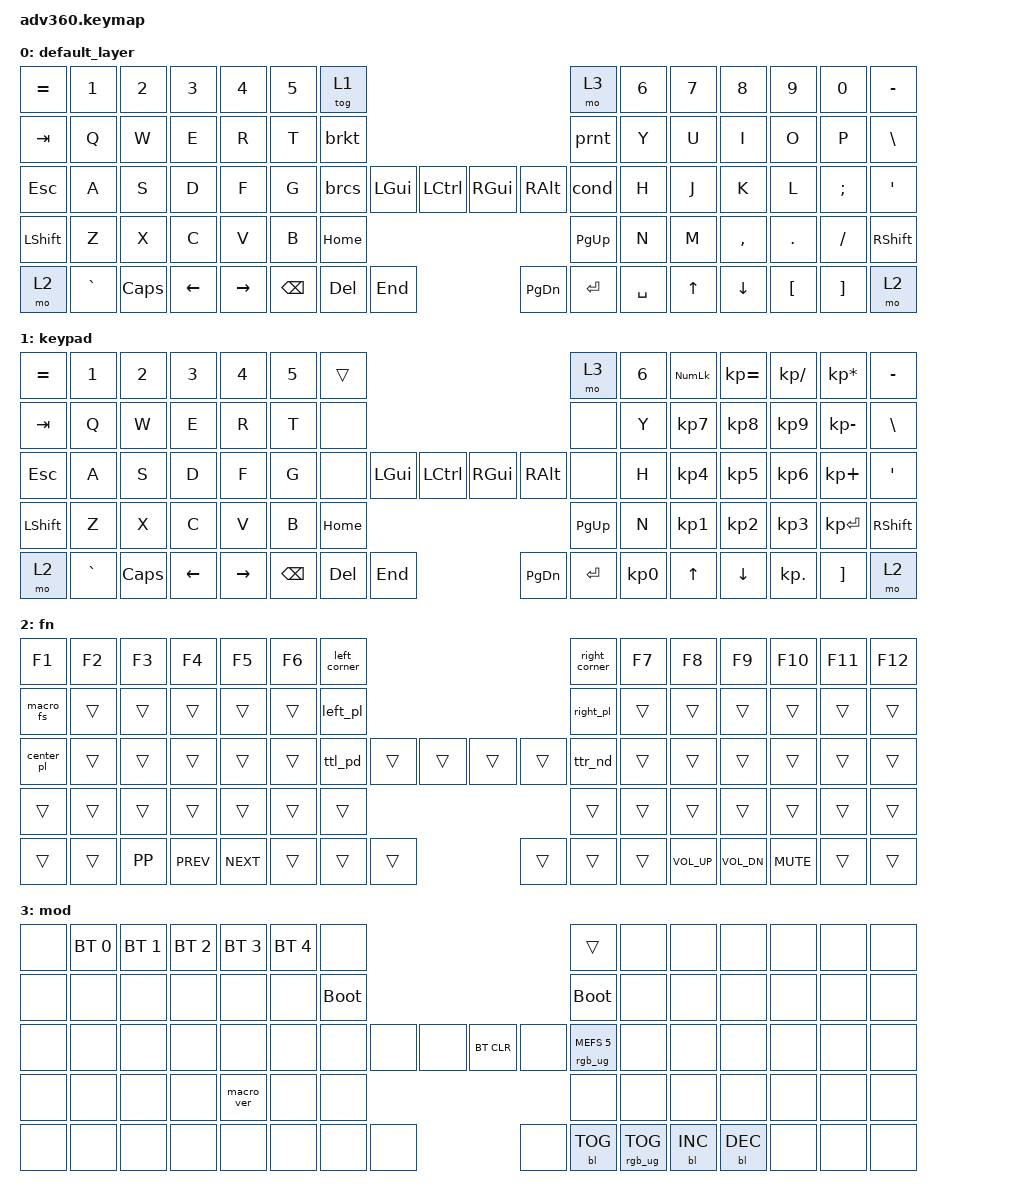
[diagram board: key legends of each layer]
#include <behaviors.dtsi>
#include <dt-bindings/zmk/keys.h>
#include <dt-bindings/zmk/bt.h>
#include <dt-bindings/zmk/rgb.h>
#include <dt-bindings/zmk/backlight.h>

/ {
    behaviors {
      #include "macros.dtsi"
      #include "version.dtsi"
      #ifndef VERSION_MACRO
      macro_ver: macro_ver {
        compatible = "zmk,behavior-macro";
        label = "macro_version";
        #binding-cells = <0>;
        bindings = <&kp RET>;
      };
      #endif

      hm: homerow_mods {
          compatible = "zmk,behavior-hold-tap";
          label = "HOMEROW_MODS";
          #binding-cells = <2>;
          tapping-term-ms = <200>;
          quick_tap_ms = <175>;
          flavor = "tap-preferred";
          bindings = <&kp>, <&kp>;
      };

      prnt: parenthesis {
        compatible = "zmk,behavior-mod-morph";
        #binding-cells = <0>;
        bindings = <&kp LPAR>, <&kp RPAR>;
        mods = <(MOD_LSFT|MOD_RSFT)>;
      };

      brkt: brackets {
        compatible = "zmk,behavior-mod-morph";
        #binding-cells = <0>;
        bindings = <&kp LBKT>, <&kp RBKT>;
        mods = <(MOD_LSFT|MOD_RSFT)>;
      };

      brcs: curly_braces {
        compatible = "zmk,behavior-mod-morph";
        #binding-cells = <0>;
        bindings = <&kp LBRC>, <&kp RBRC>;
        mods = <(MOD_LSFT|MOD_RSFT)>;
      };

      cond: conditional_operators {
        compatible = "zmk,behavior-mod-morph";
        #binding-cells = <0>;
        bindings = <&kp AMPS>, <&kp PIPE>;
        mods = <(MOD_LSFT|MOD_RSFT)>;
      };
      left_pl: left_placement {
        compatible = "zmk,behavior-mod-morph";
        #binding-cells = <0>;
        bindings = <&macro_left_half>, <&macro_left_third>;
        mods = <(MOD_LSFT|MOD_RSFT)>;
      };
      right_pl: right_placement {
        compatible = "zmk,behavior-mod-morph";
        #binding-cells = <0>;
        bindings = <&macro_right_half>, <&macro_right_third>;
        mods = <(MOD_LSFT|MOD_RSFT)>;
      };
      center_pl: center_pl {
        compatible = "zmk,behavior-mod-morph";
        #binding-cells = <0>;
        bindings = <&macro_center_third>, <&macro_center_half>;
        mods = <(MOD_LSFT|MOD_RSFT)>;
      };
      ttl_pd: two_thirds_left_prev_display {
        compatible = "zmk,behavior-mod-morph";
        #binding-cells = <0>;
        bindings = <&macro_two_third_left>, <&macro_prev_display>;
        mods = <(MOD_LSFT|MOD_RSFT)>;
      };
      ttr_nd: two_thirds_right_next_display {
        compatible = "zmk,behavior-mod-morph";
        #binding-cells = <0>;
        bindings = <&macro_two_third_right>, <&macro_next_display>;
        mods = <(MOD_LSFT|MOD_RSFT)>;
      };
      left_corner: left_corner {
        compatible = "zmk,behavior-mod-morph";
        #binding-cells = <0>;
        bindings = <&macro_top_left>, <&macro_bottom_left>;
        mods = <(MOD_LSFT|MOD_RSFT)>;
        keep-mods = <(MOD_LSFT|MOD_RSFT)>;
      };
      right_corner: right_corner {
        compatible = "zmk,behavior-mod-morph";
        #binding-cells = <0>;
        bindings = <&macro_top_right>, <&macro_bottom_right>;
        mods = <(MOD_LSFT|MOD_RSFT)>;
        keep-mods = <(MOD_LSFT|MOD_RSFT)>;
      };
    };

  keymap {
    compatible = "zmk,keymap";

    default_layer {
      bindings = <
        &kp EQUAL &kp N1    &kp N2   &kp N3   &kp N4     &kp N5 &tog 1                                                           &mo 3 &kp N6 &kp N7 &kp N8    &kp N9   &kp N0   &kp MINUS
        &kp TAB   &kp Q     &kp W    &kp E    &kp R      &kp T  &brkt                                                            &prnt &kp Y  &kp U  &kp I     &kp O    &kp P    &kp BSLH
        &kp ESC   &kp A     &kp S    &kp D    &kp F      &kp G  &brcs           &kp LGUI &kp LCTRL &kp RGUI  &kp RALT           &cond &kp H  &kp J  &kp K     &kp L    &kp SEMI &kp SQT
        &kp LSHFT &kp Z     &kp X    &kp C    &kp V      &kp B                            &kp HOME &kp PG_UP                           &kp N  &kp M  &kp COMMA &kp DOT  &kp FSLH &kp RSHFT
        &mo 2     &kp GRAVE &kp CAPS &kp LEFT &kp RIGHT                &kp BSPC &kp DEL   &kp END  &kp PG_DN &kp ENTER &kp SPACE              &kp UP &kp DOWN  &kp LBKT &kp RBKT &mo 2
      >;
    };
    keypad {
      bindings = <
        &kp EQUAL &kp N1    &kp N2   &kp N3   &kp N4     &kp N5 &trans                                                           &mo 3 &kp N6 &kp KP_NUM &kp KP_EQUAL &kp KP_DIVIDE &kp KP_MULTIPLY &kp MINUS
        &kp TAB   &kp Q     &kp W    &kp E    &kp R      &kp T  &none                                                            &none &kp Y  &kp KP_N7  &kp KP_N8    &kp KP_N9     &kp KP_MINUS    &kp BSLH
        &kp ESC   &kp A     &kp S    &kp D    &kp F      &kp G  &none           &kp LGUI &kp LCTRL &kp RGUI  &kp RALT           &none &kp H  &kp KP_N4  &kp KP_N5    &kp KP_N6     &kp KP_PLUS     &kp SQT
        &kp LSHFT &kp Z     &kp X    &kp C    &kp V      &kp B                            &kp HOME &kp PG_UP                           &kp N  &kp KP_N1  &kp KP_N2    &kp KP_N3     &kp KP_ENTER    &kp RSHFT
        &mo 2     &kp GRAVE &kp CAPS &kp LEFT &kp RIGHT                &kp BSPC &kp DEL   &kp END  &kp PG_DN &kp ENTER &kp KP_N0              &kp UP     &kp DOWN     &kp KP_DOT    &kp RBKT        &mo 2
      >;
    };
    fn {
      bindings = <
        &kp F1     &kp F2 &kp F3 &kp F4 &kp F5 &kp F6  &left_corner                                       &right_corner &kp F7 &kp F8 &kp F9 &kp F10 &kp F11 &kp F12
        &macro_fs  &trans &trans &trans &trans &trans  &left_pl                                           &right_pl     &trans &trans &trans &trans  &trans  &trans
        &center_pl &trans &trans &trans &trans &trans  &ttl_pd         &trans &trans &trans &trans        &ttr_nd       &trans &trans &trans &trans  &trans  &trans
        &trans     &trans &trans &trans &trans &trans                         &trans &trans                             &trans &trans &trans &trans  &trans  &trans
        &trans     &trans &kp K_PP &kp K_PREV &kp K_NEXT        &trans &trans &trans &trans &trans &trans               &kp K_VOL_UP &kp K_VOL_DN &kp K_MUTE &trans  &trans
      >;
    };
    mod {
      bindings = <
        &none &bt BT_SEL 0 &bt BT_SEL 1 &bt BT_SEL 2 &bt BT_SEL 3 &bt BT_SEL 4 &none                                                                     &trans                 &none        &none        &none        &none &none &none
        &none &none        &none        &none        &none        &none        &bootloader                                                               &bootloader            &none        &none        &none        &none &none &none
        &none &none        &none        &none        &none        &none        &none                   &none &none &bt BT_CLR &none                      &rgb_ug RGB_MEFS_CMD 5 &none        &none        &none        &none &none &none
        &none &none        &none        &none        &macro_ver   &none                                      &none &none                                                        &none        &none        &none        &none &none &none
        &none &none        &none        &none        &none                                       &none &none &none &none      &bl BL_TOG &rgb_ug RGB_TOG                                     &bl BL_INC   &bl BL_DEC   &none &none &none
      >;
    };
  };
};
